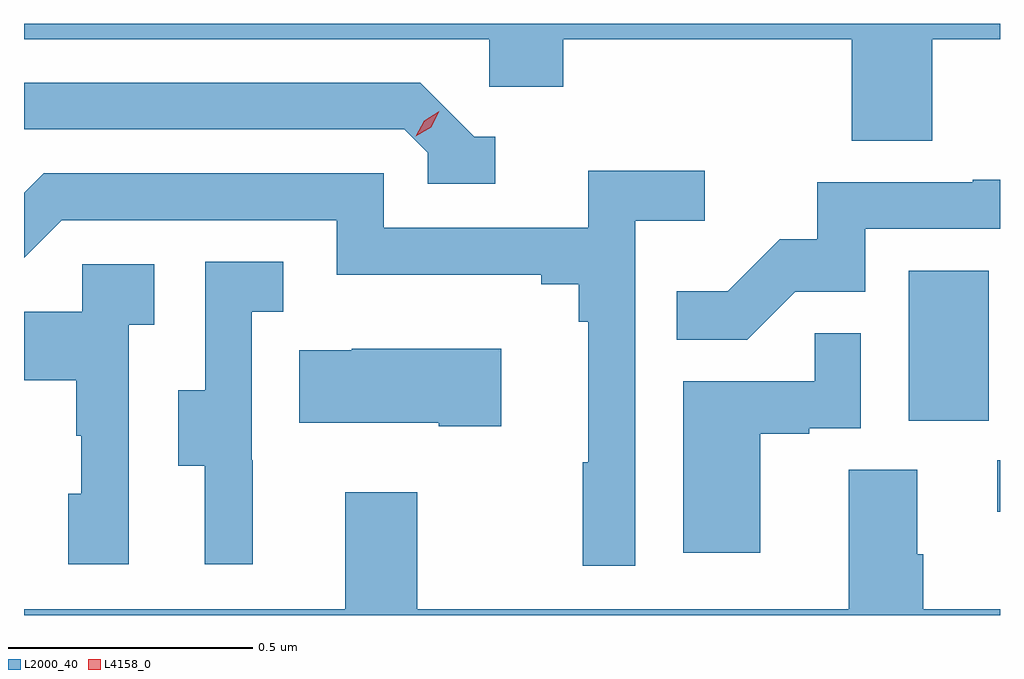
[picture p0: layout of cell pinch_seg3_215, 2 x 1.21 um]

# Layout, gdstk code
import gdstk
lib = gdstk.Library(unit=1e-6, precision=1e-09)
def R(c, l, rs):  # rectangles x0, y0, x1, y1
    for r in rs: c.add(gdstk.rectangle(r[:2], r[2:], *l))
def P(c, l, *ps):  # polygons
    for p in ps: c.add(gdstk.Polygon(p, *l))
L2000_40 = (2000, 40)
L4158_0 = (4158, 0)

pinch_seg3_215 = lib.new_cell('pinch_seg3_215')
R(pinch_seg3_215, L2000_40, [(918.789,747.9,918.795,748.005), (918.608,748.086,918.772,748.393)])
P(pinch_seg3_215, L2000_40, [(918.656,748.868),(918.795,748.868),(918.795,748.9),(916.795,748.9),(916.795,748.868),(917.748,748.868),(917.748,748.77),(917.9,748.77),(917.9,748.868),(918.491,748.868),(918.491,748.66),(918.656,748.66)],
  [(917.761,748.668),(917.718,748.668),(917.607,748.779),(916.795,748.779),(916.795,748.683),(917.574,748.683),(917.622,748.635),(917.622,748.572),(917.761,748.572)],
  [(918.048,748.496),(918.19,748.496),(918.19,748.598),(917.951,748.598),(917.951,748.482),(917.532,748.482),(917.532,748.593),(916.835,748.593),(916.795,748.553),(916.795,748.42),(916.872,748.497),(917.436,748.497),(917.436,748.385),(917.855,748.385),(917.855,748.366),(917.932,748.366),(917.932,748.289),(917.951,748.289),(917.951,748.001),(917.94,748.001),(917.94,747.789),(918.048,747.789)],
  [(918.375,748.35),(918.519,748.35),(918.519,748.479),(918.795,748.479),(918.795,748.58),(918.739,748.58),(918.739,748.575),(918.421,748.575),(918.421,748.458),(918.344,748.458),(918.237,748.351),(918.133,748.351),(918.133,748.252),(918.277,748.252)],
  [(917.264,748.005),(917.262,748.005),(917.262,748.309),(917.326,748.309),(917.326,748.412),(917.166,748.412),(917.166,748.149),(917.111,748.149),(917.111,747.994),(917.165,747.994),(917.165,747.792),(917.264,747.792)],
  [(917.01,748.283),(917.062,748.283),(917.062,748.407),(916.914,748.407),(916.914,748.309),(916.795,748.309),(916.795,748.169),(916.902,748.169),(916.902,748.055),(916.912,748.055),(916.912,747.936),(916.886,747.936),(916.886,747.792),(917.01,747.792)],
  [(918.304,748.059),(918.404,748.059),(918.404,748.071),(918.51,748.071),(918.51,748.265),(918.415,748.265),(918.415,748.167),(918.146,748.167),(918.146,747.816),(918.304,747.816)],
  [(917.773,748.234),(917.467,748.234),(917.467,748.231),(917.359,748.231),(917.359,748.082),(917.645,748.082),(917.645,748.075),(917.773,748.075)],
  [(918.795,747.7),(918.638,747.7),(918.638,747.812),(918.625,747.812),(918.625,747.986),(918.485,747.986),(918.485,747.7),(917.601,747.7),(917.601,747.94),(917.453,747.94),(917.453,747.7),(916.795,747.7),(916.795,747.687),(918.795,747.687)])
P(pinch_seg3_215, L4158_0, [(917.598,748.669),(917.598,748.669),(917.615,748.701),(917.646,748.72),(917.646,748.72),(917.646,748.72),(917.63,748.687),(917.598,748.669)])

lib.write_gds('pinch_seg3_215.gds')
